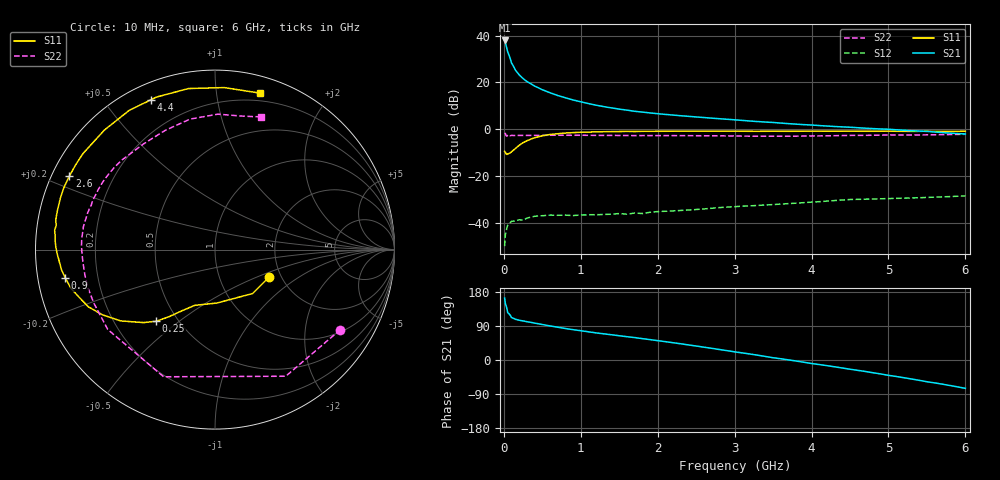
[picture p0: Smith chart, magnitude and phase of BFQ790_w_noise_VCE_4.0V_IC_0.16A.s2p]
! (c) 2015  Infineon Technologies AG, Munich
! Infineon Technologies  Discrete & RF Semiconductors
! BFQ790
! VCE =  4.0 V,  IC = 0.16 A
! Common Emitter S-Parameters:  May 2015
# GHz  S  MA  R  50
!  f  S11  S21  S12  S22
! GHz  MAG  ANG  MAG  ANG  MAG  ANG  MAG  ANG
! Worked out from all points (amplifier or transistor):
!   77 points, 10 MHz to 6 GHz, reference 50 ohm
!   highest |S21| = 37.9 dB at 10 MHz (marker M1)
!   |S21| within 3 dB of that: start of sweep to 35.87 MHz
!   unconditionally stable (mu >= 1): 223 MHz to 456.3 MHz; 691.8 MHz to 708.8 MHz; 869.8 MHz to end of sweep
!   at 130 MHz: K = 0.75, MSG = 32.9 dB, |S12| = -39.2 dB
!   at 2.2 GHz: K = 1.27, MAG = 17.3 dB, |S12| = -34.8 dB
!   at 6 GHz: K = 1.16, MAG = 10.8 dB, |S12| = -28.5 dB
!   lowest NFmin = 3.03 dB at 1.5 GHz
!   S11 on the Smith chart (normalised r, x): 10 MHz: 1.74, -0.60; 250 MHz: 0.38, -0.42; 900 MHz: 0.08, -0.09; 2.6 GHz: 0.05, +0.24; 4.4 GHz: 0.07, +0.66; 6 GHz: 0.13, +1.32
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0.01  0.339 -26.6  78.49 163.3  0.0032 63.1  0.8289 -32.5
0.02  0.3222 -49.4  70.31 148.8  0.0057 54.2  0.8082 -60.8
0.05  0.2979 -87.9  44.77 124.9  0.009 32.9  0.7642 -112.0
0.1  0.3304 -110.0  25.93 111.9  0.0108 24.3  0.7451 -143.3
0.15  0.3883 -118.5  18.36 107.5  0.0111 21.3  0.7378 -156.1
0.2  0.4543 -124.5  14.46 104.9  0.0117 22.0  0.7393 -163.0
0.25  0.5166 -129.4  12.07 103.1  0.0115 17.1  0.7386 -167.5
0.3  0.5691 -134.4  10.43 101.1  0.0127 17.0  0.7384 -170.8
0.4  0.6598 -143.0  8.349 97.3  0.0139 16.1  0.7395 -175.6
0.5  0.7237 -149.8  6.975 93.6  0.0143 11.7  0.742 -179.1
0.6  0.7744 -155.7  6.012 90.0  0.0147 12.5  0.7443 178.1
0.7  0.803 -160.8  5.252 86.5  0.0146 12.0  0.7445 175.7
0.9  0.8488 -169.3  4.214 80.0  0.0144 8.6  0.7431 171.9
1.1  0.8704 -175.7  3.53 74.4  0.015 9.0  0.7425 168.5
1.5  0.8941 174.9  2.69 64.0  0.0159 10.6  0.7367 162.9
2.1  0.9057 163.7  2.074 48.4  0.0178 9.1  0.7314 154.2
2.6  0.9091 153.3  1.777 33.9  0.0199 7.3  0.727 144.9
3.1  0.9064 141.8  1.543 18.7  0.0228 1.1  0.7155 133.6
4.1  0.9085 119.5  1.199 -12.0  0.0285 -12.2  0.7217 110.1
4.4  0.9079 113.1  1.123 -21.1  0.0309 -17.3  0.7338 103.1
5.1  0.9049 96.9  0.974 -43.5  0.0335 -31.1  0.7536 86.7
6  0.9071 74.0  0.794 -74.8  0.0378 -50.5  0.7819 71.0
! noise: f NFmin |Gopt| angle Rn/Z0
0.45  4.92  0.45  139  0.47
0.9  3.45  0.58  167  0.16
1.5  3.03  0.69  -173  0.08
1.8  3.11  0.7  -167  0.1
2.6  3.41  0.73  -152  0.23
3.5  3.96  0.84  -136  0.51
